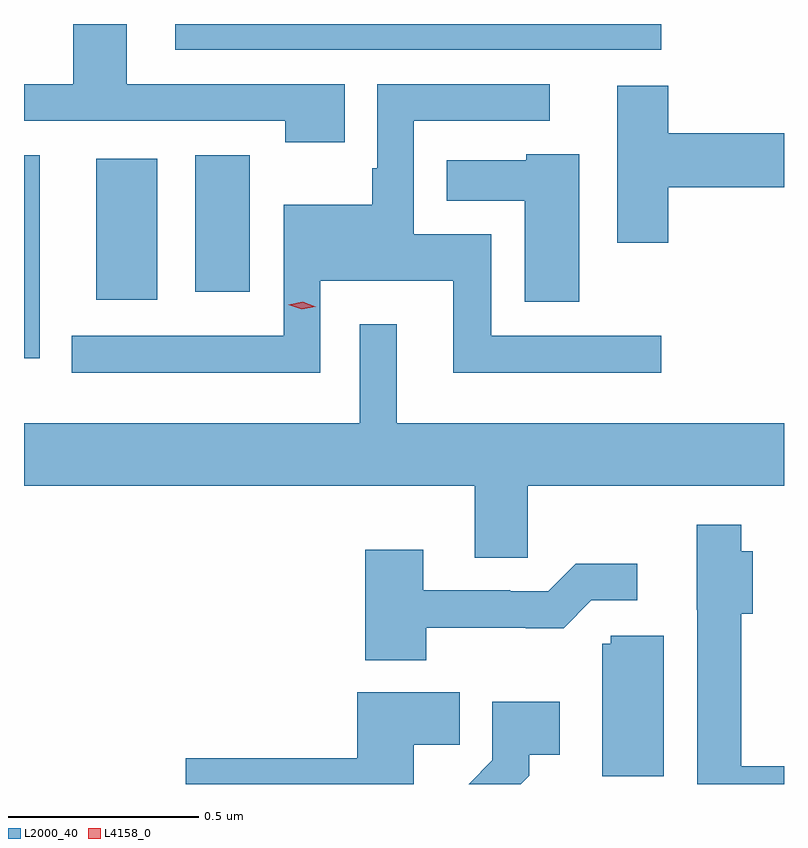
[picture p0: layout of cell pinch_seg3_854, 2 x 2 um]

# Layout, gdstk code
import gdstk
lib = gdstk.Library(unit=1e-6, precision=1e-09)
def R(c, l, rs):  # rectangles x0, y0, x1, y1
    for r in rs: c.add(gdstk.rectangle(r[:2], r[2:], *l))
def P(c, l, *ps):  # polygons
    for p in ps: c.add(gdstk.Polygon(p, *l))
L2000_40 = (2000, 40)
L4158_0 = (4158, 0)

pinch_seg3_854 = lib.new_cell('pinch_seg3_854')
R(pinch_seg3_854, L2000_40, [(732.533,741.366,732.694,741.736), (732.794,741.387,732.937,741.745), (732.741,742.023,734.02,742.091)])
P(pinch_seg3_854, L2000_40, [(733.187,741.933),(732.613,741.933),(732.613,742.091),(732.473,742.091),(732.473,741.933),(732.343,741.933),(732.343,741.837),(733.031,741.837),(733.031,741.78),(733.187,741.78)],
  [(733.122,741.416),(733.472,741.416),(733.472,741.173),(734.02,741.173),(734.02,741.27),(733.573,741.27),(733.573,741.538),(733.368,741.538),(733.368,741.837),(733.726,741.837),(733.726,741.933),(733.272,741.933),(733.272,741.712),(733.26,741.712),(733.26,741.616),(733.026,741.616),(733.026,741.27),(732.469,741.27),(732.469,741.173),(733.122,741.173)],
  [(734.039,741.662),(734.343,741.662),(734.343,741.804),(734.039,741.804),(734.039,741.928),(733.904,741.928),(733.904,741.516),(734.039,741.516)],
  [(733.804,741.748),(733.665,741.748),(733.665,741.733),(733.455,741.733),(733.455,741.626),(733.661,741.626),(733.661,741.36),(733.804,741.36)],
  [(732.384,741.316),(732.385,741.316),(732.385,741.745),(732.343,741.745),(732.343,741.212),(732.384,741.212)],
  [(733.324,741.301),(733.227,741.301),(733.227,741.04),(732.343,741.04),(732.343,740.876),(733.529,740.876),(733.529,740.686),(733.668,740.686),(733.668,740.876),(734.343,740.876),(734.343,741.04),(733.324,741.04)],
  [(734.343,740.138),(734.231,740.138),(734.231,740.539),(734.261,740.539),(734.261,740.704),(734.231,740.704),(734.231,740.773),(734.114,740.773),(734.114,740.55),(734.115,740.55),(734.115,740.091),(734.343,740.091)],
  [(733.401,740.502),(733.664,740.502),(733.664,740.501),(733.763,740.501),(733.836,740.574),(733.957,740.574),(733.957,740.671),(733.795,740.671),(733.722,740.598),(733.622,740.598),(733.622,740.601),(733.393,740.601),(733.393,740.707),(733.241,740.707),(733.241,740.417),(733.401,740.417)],
  [(734.026,740.481),(733.887,740.481),(733.887,740.46),(733.865,740.46),(733.865,740.112),(734.026,740.112)],
  [(733.369,740.194),(733.49,740.194),(733.49,740.332),(733.22,740.332),(733.22,740.159),(732.768,740.159),(732.768,740.091),(733.369,740.091)],
  [(733.672,740.113),(733.672,740.168),(733.753,740.168),(733.753,740.308),(733.575,740.308),(733.575,740.153),(733.513,740.091),(733.65,740.091)])
P(pinch_seg3_854, L4158_0, [(733.074,741.34),(733.039,741.352),(733.039,741.352),(733.039,741.352),(733.076,741.36),(733.111,741.347),(733.111,741.347),(733.111,741.347)])

lib.write_gds('pinch_seg3_854.gds')
